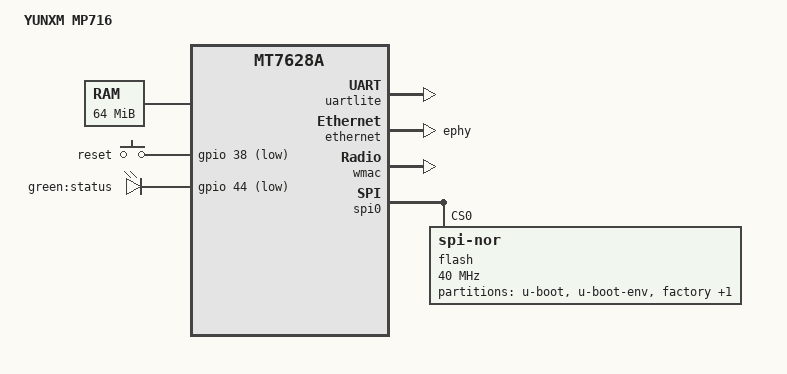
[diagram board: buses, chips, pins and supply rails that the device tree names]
// SPDX-License-Identifier: GPL-2.0-or-later
/*
 * YUNXM / HUAYI MP716 — MT7628, 64 MiB RAM, 8 MiB SPI NOR, 5-port FE switch
 * 引脚/分区参数需在实机串口与 bootloader 输出中独立核对后再固化安装镜像。
 */
/dts-v1/;

#include "mt7628.dtsi"

/ {
	compatible = "yunxm,mp716", "ralink,mt7628a-soc";
	model = "YUNXM MP716";

	aliases {
		serial0 = &uartlite;
		led-boot = &led_status;
		led-failsafe = &led_status;
		led-running = &led_status;
		led-upgrade = &led_status;
	};

	chosen {
		bootstrap-modifiable;
		stdout-path = "serial0:57600n8";
	};

	memory@0 {
		device_type = "memory";
		reg = <0x0 0x4000000>;
	};

	keys {
		compatible = "gpio-keys";

		reset {
			label = "reset";
			linux,code = <KEY_RESTART>;
			/* TODO: 实机核对 GPIO */
			gpios = <&gpio 38 GPIO_ACTIVE_LOW>;
		};
	};

	leds {
		compatible = "gpio-leds";

		led_status: status {
			label = "green:status";
			/* TODO: 实机核对 GPIO */
			gpios = <&gpio 44 GPIO_ACTIVE_LOW>;
		};
	};
};

&pinctrl {
	state_default: pinctrl0 {
		gpio {
			groups = "gpio", "ref";
			function = "gpio";
		};
	};

	ephy_pins: ephy-pins {
		groups = "ephy";
	};
};

&uartlite {
	status = "okay";
};

&pcie {
	status = "disabled";
};

&ethernet {
	pinctrl-names = "default";
	pinctrl-0 = <&ephy_pins>;
	mediatek,mportmap = <0xf>;
	/*
	 * 五物理网口：典型为 CPU port5 + ESW port0-3，映射待交换机探测确认
	 * portmap 0x1f = port0-4 enabled
	 */
};

&esw {
	mediatek,portmap = <0x1f>;
};

&wmac {
	status = "okay";
};

&spi0 {
	status = "okay";

	flash@0 {
		compatible = "jedec,spi-nor";
		reg = <0>;
		spi-max-frequency = <40000000>;

		partitions {
			compatible = "fixed-partitions";
			#address-cells = <1>;
			#size-cells = <1>;

			partition@0 {
				label = "u-boot";
				reg = <0x0 0x30000>;
				read-only;
			};

			partition@30000 {
				label = "u-boot-env";
				reg = <0x30000 0x10000>;
			};

			partition@40000 {
				label = "factory";
				reg = <0x40000 0x10000>;
				read-only;
			};

			partition@50000 {
				label = "firmware";
				reg = <0x50000 0x7b0000>;
				compatible = "denx,uimage";
			};
		};
	};
};
